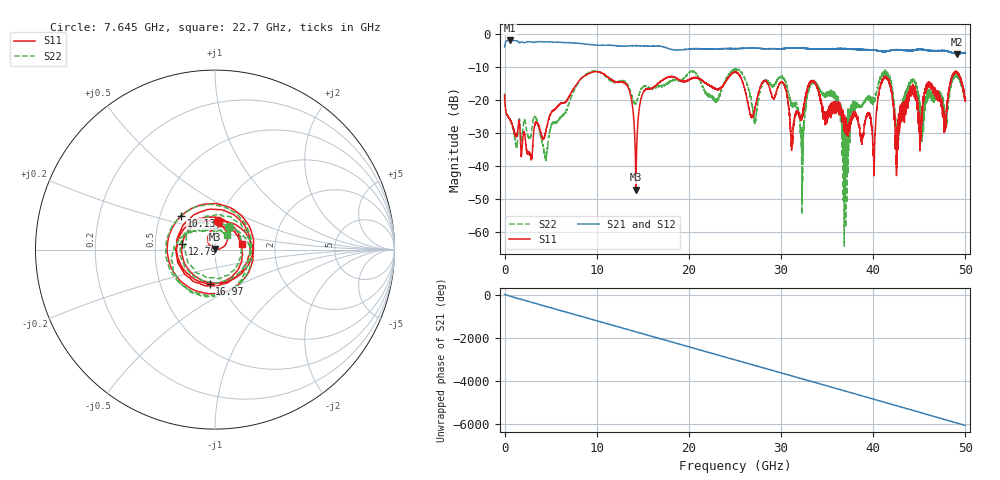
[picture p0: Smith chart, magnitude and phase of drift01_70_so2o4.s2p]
!Created with skrf (http://scikit-rf.org).
# Hz S RI R 50.0
!freq ReS11 ImS11 ReS21 ImS21 ReS12 ImS12 ReS22 ImS22
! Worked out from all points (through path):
!   10001 points, 300 kHz to 50 GHz, reference 50 ohm
!   highest |S21| = -2.00 dB at 570.3 MHz (marker M1); lowest = -6.1 dB at 49.05 GHz (marker M2)
!   group delay of S21, straight-line fit = 336 ps
!   lowest |S11| = -47.3 dB at 14.25 GHz (marker M3), VSWR 1.01, Z = 50.1 + j0.426 ohm
!   |S11| at or under -10 dB: start of sweep to end of sweep
!   |S22| runs from -64.4 to -10.6 dB; largest |S21 - S12| = 0.02
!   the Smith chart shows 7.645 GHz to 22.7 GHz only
!   S11 on the Smith chart (normalised r, x): 7.645 GHz: 0.98, +0.32; 10.13 GHz: 0.64, +0.26; 12.79 GHz: 0.69, +0.05; 16.97 GHz: 0.88, -0.35; 22.7 GHz: 1.34, +0.09
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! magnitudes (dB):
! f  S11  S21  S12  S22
! 300 kHz  -18.6  -4.0  -4.0  -18.0
! 570.3 MHz  -25.9  -2.0  -2.0  -26.0
! 4.445 GHz  -29.8  -2.4  -2.4  -37.9
! 7.645 GHz  -16.0  -2.8  -2.8  -16.6
! 8.335 GHz  -13.5  -2.9  -3.0  -13.5
! 10.13 GHz  -11.5  -3.4  -3.4  -11.4
! 12.79 GHz  -14.7  -3.7  -3.7  -14.3
! 14.25 GHz  -47.3  -3.6  -3.6  -21.1
! 16.67 GHz  -14.9  -3.7  -3.7  -15.9
! 16.97 GHz  -14.3  -3.8  -3.8  -15.6
! 22.7 GHz  -16.4  -4.6  -4.6  -19.6
! 25 GHz  -11.5  -4.5  -4.5  -10.8
! 27.17 GHz  -22.5  -4.3  -4.3  -26.0
! 30.22 GHz  -14.8  -4.5  -4.5  -13.3
! 32.28 GHz  -25.2  -4.3  -4.3  -51.0
! 33.34 GHz  -14.3  -4.6  -4.6  -14.7
! 36.99 GHz  -30.2  -4.6  -4.5  -29.1
! 40.04 GHz  -36.9  -4.9  -4.8  -20.0
! 41.67 GHz  -13.8  -5.1  -5.1  -13.3
! 42.6 GHz  -31.3  -4.8  -4.8  -32.2
! 49.05 GHz  -11.9  -6.1  -6.0  -12.7
! 50 GHz  -20.3  -5.7  -5.8  -19.5
